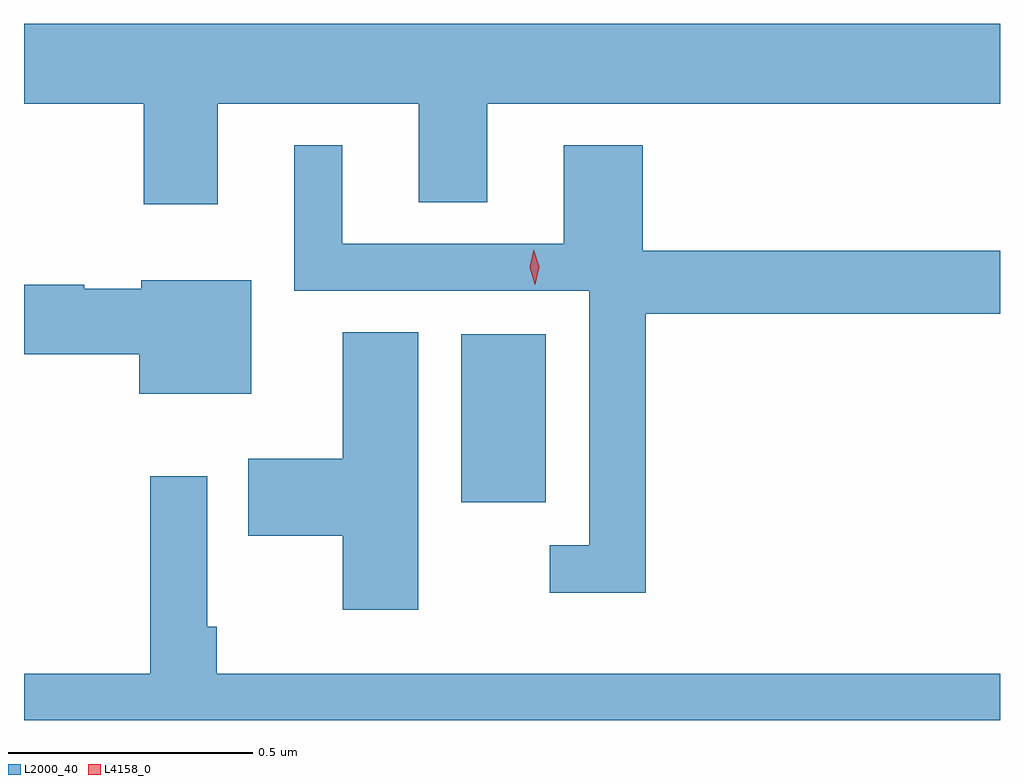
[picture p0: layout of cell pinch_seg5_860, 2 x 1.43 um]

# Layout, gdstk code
import gdstk
lib = gdstk.Library(unit=1e-6, precision=1e-09)
def R(c, l, rs):  # rectangles x0, y0, x1, y1
    for r in rs: c.add(gdstk.rectangle(r[:2], r[2:], *l))
def P(c, l, *ps):  # polygons
    for p in ps: c.add(gdstk.Polygon(p, *l))
L2000_40 = (2000, 40)
L4158_0 = (4158, 0)

pinch_seg5_860 = lib.new_cell('pinch_seg5_860')
R(pinch_seg5_860, L2000_40, [(784.286,877.256,784.459,877.6)])
P(pinch_seg5_860, L2000_40, [(783.787,878.072),(784.199,878.072),(784.199,877.87),(784.339,877.87),(784.339,878.072),(785.39,878.072),(785.39,878.236),(783.39,878.236),(783.39,878.072),(783.635,878.072),(783.635,877.866),(783.787,877.866)],
  [(784.664,877.642),(785.39,877.642),(785.39,877.771),(784.658,877.771),(784.658,877.987),(784.496,877.987),(784.496,877.785),(784.042,877.785),(784.042,877.987),(783.944,877.987),(783.944,877.689),(784.548,877.689),(784.548,877.167),(784.467,877.167),(784.467,877.07),(784.664,877.07)],
  [(783.856,877.711),(783.63,877.711),(783.63,877.693),(783.513,877.693),(783.513,877.701),(783.39,877.701),(783.39,877.559),(783.626,877.559),(783.626,877.478),(783.856,877.478)],
  [(784.198,877.604),(784.043,877.604),(784.043,877.345),(783.85,877.345),(783.85,877.187),(784.043,877.187),(784.043,877.035),(784.198,877.035)],
  [(785.39,876.904),(783.785,876.904),(783.785,877),(783.765,877),(783.765,877.309),(783.649,877.309),(783.649,876.904),(783.39,876.904),(783.39,876.809),(785.39,876.809)])
P(pinch_seg5_860, L4158_0, [(784.438,877.701),(784.437,877.702),(784.426,877.737),(784.435,877.773),(784.435,877.773),(784.435,877.773),(784.446,877.738),(784.438,877.702)])

lib.write_gds('pinch_seg5_860.gds')
